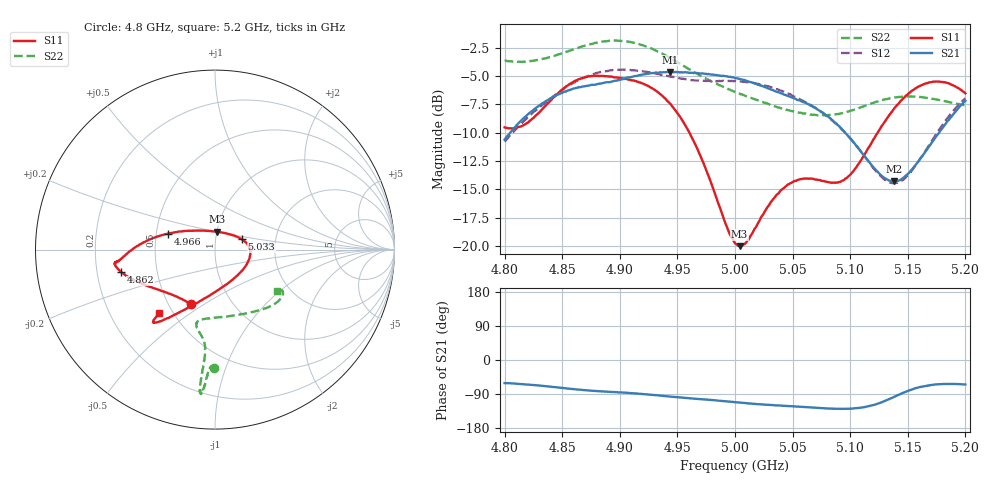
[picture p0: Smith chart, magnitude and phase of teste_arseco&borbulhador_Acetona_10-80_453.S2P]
! Network Analyzer HP8722D
! Hewlett-Packard
! Data name: Linha & Wilkinson
! Saver's name: Rodrigo Anjos
! Comments: Teste da utilização de aquisição
! continua pelo VNA HP8722D
! Time and date: 17/4/2025 18:08
!  Frequency  S11  S21  S12  S22
# HZ  S  MA R 50
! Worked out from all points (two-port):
!   401 points, 4.8 GHz to 5.2 GHz, reference 50 ohm
!   highest |S21| = -4.64 dB at 4.944 GHz (marker M1); lowest = -14.3 dB at 5.138 GHz (marker M2)
!   |S21| within 3 dB of the highest: 4.83 GHz to 5.066 GHz (236.3 MHz wide, 4.78 % of centre); 5.195659 GHz to end of sweep
!   lowest |S11| = -20.0 dB at 5.004 GHz (marker M3), VSWR 1.22, Z = 50.1 + j10 ohm
!   |S11| at or under -10 dB: 4.96 GHz to 5.124 GHz (163.4 MHz wide, 3.24 % of centre)
!   |S22| runs from -8.5 to -1.9 dB; largest |S21 - S12| = 0.88
!   S11 on the Smith chart (normalised r, x): 4.8 GHz: 0.64, -0.44; 4.862 GHz: 0.30, -0.11; 4.966 GHz: 0.58, +0.11; 5.033 GHz: 1.34, +0.16; 5.2 GHz: 0.42, -0.38
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4.8e9  0.3337 -113.8  0.2946 -61.0  0.2885 -175.1  0.6573 -90.3
4.819e9  0.3479 -133.9  0.376 -64.4  0.3645 -174.0  0.6531 -91.9
4.862e9  0.5377 -166.5  0.4982 -77.5  0.5338 -177.3  0.7448 -94.1
4.867e9  0.5502 -168.5  0.5049 -78.9  0.5481 -178.2  0.7588 -94.4
4.898e9  0.5533 -172.8  0.5384 -85.0  0.5981 175.6  0.8049 -95.6
4.934e9  0.4737 -179.1  0.582 -93.9  0.5732 171.6  0.7162 -96.2
4.944e9  0.4231 176.3  0.5865 -96.5  0.5577 171.8  0.6742 -96.0
4.966e9  0.2772 161.3  0.5798 -102.2  0.5379 173.6  0.5795 -95.4
4.993e9  0.121 119.4  0.5608 -109.3  0.535 176.0  0.4961 -98.1
5e9  0.1027 98.1  0.5512 -111.4  0.5355 176.0  0.479 -99.7
5.004e9  0.09979 84.0  0.546 -112.5  0.5317 176.0  0.4703 -100.4
5.011e9  0.1061 61.3  0.5335 -114.4  0.5275 175.7  0.456 -102.1
5.033e9  0.1606 21.1  0.488 -119.0  0.4976 174.5  0.4161 -103.8
5.05e9  0.1914 3.8  0.4509 -122.1  0.4598 173.9  0.3935 -99.7
5.067e9  0.1982 -14.5  0.413 -125.3  0.4157 173.5  0.3792 -90.6
5.087e9  0.1899 -46.9  0.3493 -128.7  0.3481 173.6  0.3808 -75.2
5.097e9  0.1993 -67.5  0.3105 -128.8  0.3105 174.7  0.3903 -67.0
5.134e9  0.3784 -117.2  0.1941 -103.1  0.1907 -156.0  0.4476 -43.0
5.138e9  0.403 -119.6  0.1926 -97.4  0.1893 -149.6  0.4513 -41.3
5.151e9  0.472 -125.3  0.21 -80.4  0.2081 -129.9  0.4571 -36.6
5.17e9  0.5281 -129.5  0.2814 -66.1  0.2869 -112.3  0.4474 -32.2
5.2e9  0.4715 -131.2  0.4374 -64.7  0.449 -106.7  0.417 -33.7
